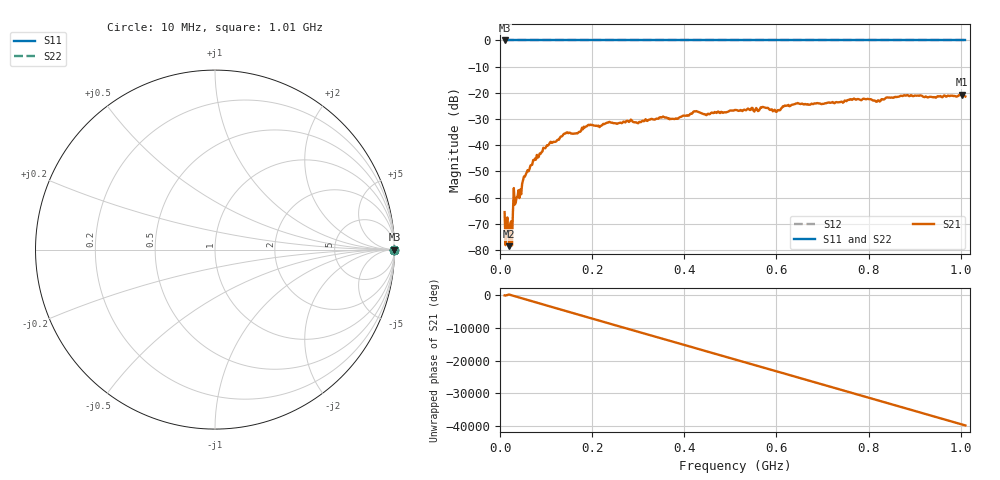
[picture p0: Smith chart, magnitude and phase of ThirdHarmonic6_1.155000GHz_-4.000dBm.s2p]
! 8/16/2025 11:30:31 AM
! C:\ANRITSUVNA\TEMP\TEMP.S2P
! CHANNEL.1
! TR.MEASUREMENT
! RAW.DATA
! RF.CORRECTION.OFF
! AVERAGING.OFF
! IF.BANDWIDTH: 5KHZ
! SWEEPTYPE:  FREQ.SWEEP(Linear)
! Reference Plane Port Info
! PORT:  PORT1  PORT2
! DISTANCE:  0  m  0  m
! TIME:  0  s  0  s
! PHASE.OFFSET:  0  deg.  0  deg.
! LOSS:  0  dB  0  dB
! REF.LOSS:  0  dB  0  dB
! REF.FREQ:  0  Hz  0  Hz
! Power Info
! POWER:  -20  dBm  -20  dBm
! EFF.POWER:  -20  dBm  -20  dBm
! SOURCE.ATTEN:  0  dB  0  dB
! TEST.ATTEN:  0  dB  0  dB
# GHZ S RI R 50.0
! FREQ.GHZ  S11RE  S11IM  S21RE  S21IM  S12RE  S12IM  S22RE  S22IM
!; PortSelection: Port_12
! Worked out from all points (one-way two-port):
!   501 points, 10 MHz to 1.01 GHz, reference 50 ohm
!   highest |S21| = -20.70 dB at 1.002 GHz (marker M1); lowest = -78.6 dB at 20 MHz (marker M2)
!   lowest |S11| = 0.0 dB at 10 MHz (marker M3)
!   |S11| at or under -10 dB: nowhere
!   |S22| runs from 0.0 to 0.0 dB; largest |S21 - S12| = 1.1
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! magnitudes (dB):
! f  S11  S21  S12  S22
! 10 MHz  0.0  -65.5  0.0  0.0
! 16 MHz  0.0  -67.6  0.0  0.0
! 20 MHz  0.0  -78.6  0.0  0.0
! 22 MHz  0.0  -70.2  0.0  0.0
! 24 MHz  0.0  -69.1  0.0  0.0
! 26 MHz  0.0  -78.3  0.0  0.0
! 34 MHz  0.0  -62.1  0.0  0.0
! 42 MHz  0.0  -60.2  0.0  0.0
! 56 MHz  0.0  -51.2  0.0  0.0
! 76 MHz  0.0  -45.1  0.0  0.0
! 142 MHz  0.0  -35.5  0.0  0.0
! 178 MHz  0.0  -33.3  0.0  0.0
! 194 MHz  0.0  -32.4  0.0  0.0
! 344 MHz  0.0  -29.9  0.0  0.0
! 510 MHz  0.0  -26.5  0.0  0.0
! 570 MHz  0.0  -25.4  0.0  0.0
! 602 MHz  0.0  -26.7  0.0  0.0
! 642 MHz  0.0  -24.1  0.0  0.0
! 678 MHz  0.0  -24.3  0.0  0.0
! 844 MHz  0.0  -21.8  0.0  0.0
! 1.002 GHz  0.0  -20.7  0.0  0.0
! 1.01 GHz  0.0  -21.4  0.0  0.0
